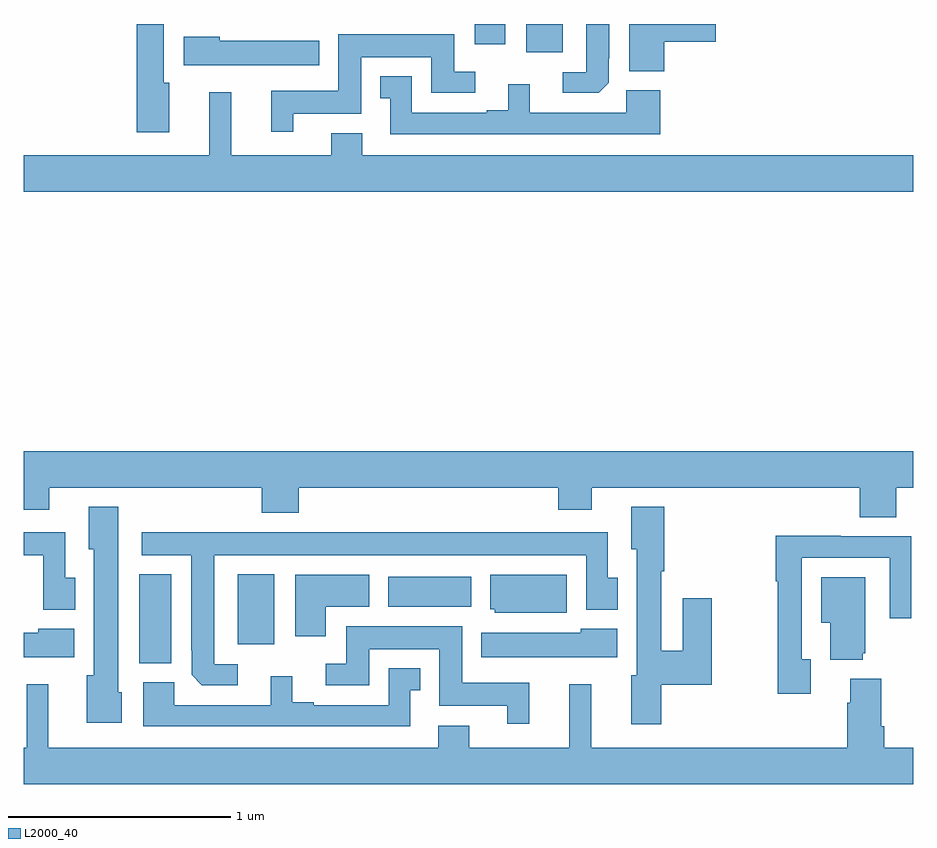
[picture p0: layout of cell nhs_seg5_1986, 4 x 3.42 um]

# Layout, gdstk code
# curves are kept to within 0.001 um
import gdstk
lib = gdstk.Library(unit=1e-6, precision=1e-09)
def R(c, l, rs):  # rectangles x0, y0, x1, y1
    for r in rs: c.add(gdstk.rectangle(r[:2], r[2:], *l))
def P(c, l, *ps):  # polygons
    for p in ps: c.add(gdstk.Polygon(p, *l))
L2000_40 = (2000, 40)

nhs_seg5_1986 = lib.new_cell('nhs_seg5_1986')
R(nhs_seg5_1986, L2000_40, [(227.519,903.923,227.662,904.324), (227.963,904.008,228.127,904.324), (228.638,904.178,229.012,904.312), (229.259,906.672,229.423,906.799), (229.028,906.708,229.165,906.799)])
P(nhs_seg5_1986, L2000_40, [(229.632,906.535),(229.632,906.646),(229.633,906.646),(229.633,906.799),(229.529,906.799),(229.529,906.582),(229.425,906.582),(229.425,906.489),(229.586,906.489)],
  [(227.653,906.534),(227.629,906.534),(227.629,906.799),(227.507,906.799),(227.507,906.312),(227.653,906.312)],
  [(229.88,906.719),(230.113,906.719),(230.113,906.799),(229.724,906.799),(229.724,906.587),(229.88,906.587)],
  [(228.211,906.395),(228.517,906.395),(228.517,906.65),(228.833,906.65),(228.833,906.489),(229.03,906.489),(229.03,906.585),(228.937,906.585),(228.937,906.754),(228.413,906.754),(228.413,906.499),(228.113,906.499),(228.113,906.315),(228.211,906.315)],
  [(228.328,906.724),(227.88,906.724),(227.88,906.742),(227.718,906.742),(227.718,906.614),(228.328,906.614)],
  [(229.862,906.502),(229.71,906.502),(229.71,906.399),(229.276,906.399),(229.276,906.529),(229.178,906.529),(229.178,906.412),(229.082,906.412),(229.082,906.399),(228.744,906.399),(228.744,906.565),(228.602,906.565),(228.602,906.465),(228.648,906.465),(228.648,906.303),(229.862,906.303)],
  [(231,906.208),(228.523,906.208),(228.523,906.307),(228.383,906.307),(228.383,906.208),(227.933,906.208),(227.933,906.493),(227.834,906.493),(227.834,906.208),(227,906.208),(227,906.044),(231,906.044)],
  [(230.924,904.712),(231,904.712),(231,904.876),(227,904.876),(227,904.613),(227.113,904.613),(227.113,904.712),(228.071,904.712),(228.071,904.601),(228.236,904.601),(228.236,904.712),(229.403,904.712),(229.403,904.613),(229.555,904.613),(229.555,904.712),(230.759,904.712),(230.759,904.579),(230.924,904.579)],
  [(227.44,903.792),(227.425,903.792),(227.425,904.627),(227.291,904.627),(227.291,904.437),(227.315,904.437),(227.315,903.87),(227.282,903.87),(227.282,903.656),(227.44,903.656)],
  [(229.867,903.827),(230.094,903.827),(230.094,904.216),(229.964,904.216),(229.964,903.98),(229.867,903.98),(229.867,904.337),(229.88,904.337),(229.88,904.627),(229.733,904.627),(229.733,904.437),(229.757,904.437),(229.757,903.87),(229.733,903.87),(229.733,903.648),(229.867,903.648)],
  [(227.23,904.308),(227.185,904.308),(227.185,904.513),(227,904.513),(227,904.409),(227.088,904.409),(227.088,904.164),(227.23,904.164)],
  [(227.962,903.918),(227.857,903.918),(227.857,904.409),(229.53,904.409),(229.53,904.164),(229.672,904.164),(229.672,904.308),(229.627,904.308),(229.627,904.513),(227.529,904.513),(227.529,904.409),(227.753,904.409),(227.754,903.871),(227.8,903.825),(227.962,903.825)],
  [(230.539,903.942),(230.499,903.942),(230.499,904.398),(230.895,904.398),(230.895,904.125),(230.991,904.125),(230.991,904.494),(230.675,904.494),(230.675,904.496),(230.383,904.496),(230.383,904.291),(230.391,904.291),(230.391,903.786),(230.539,903.786)],
  [(228.358,904.178),(228.553,904.178),(228.553,904.321),(228.221,904.321),(228.221,904.044),(228.358,904.044)],
  [(229.441,904.321),(229.097,904.321),(229.097,904.167),(229.119,904.167),(229.119,904.151),(229.441,904.151)],
  [(230.774,903.969),(230.785,903.969),(230.785,904.309),(230.588,904.309),(230.588,904.106),(230.627,904.106),(230.627,903.938),(230.774,903.938)],
  [(229.274,903.835),(228.973,903.835),(228.973,904.09),(228.449,904.09),(228.449,903.921),(228.357,903.921),(228.357,903.825),(228.553,903.825),(228.553,903.986),(228.869,903.986),(228.869,903.731),(229.175,903.731),(229.175,903.651),(229.274,903.651)],
  [(229.669,904.078),(229.506,904.078),(229.506,904.06),(229.058,904.06),(229.058,903.95),(229.669,903.95)],
  [(227.227,904.078),(227.064,904.078),(227.064,904.06),(227,904.06),(227,903.95),(227.227,903.95)],
  [(228.738,903.801),(228.784,903.801),(228.784,903.901),(228.642,903.901),(228.642,903.735),(228.304,903.735),(228.304,903.748),(228.208,903.748),(228.208,903.865),(228.11,903.865),(228.11,903.735),(227.676,903.735),(227.676,903.838),(227.537,903.838),(227.537,903.639),(228.738,903.639)],
  [(231,903.544),(230.87,903.544),(230.87,903.64),(230.857,903.64),(230.857,903.853),(230.717,903.853),(230.717,903.746),(230.705,903.746),(230.705,903.544),(229.553,903.544),(229.553,903.829),(229.454,903.829),(229.454,903.544),(229.003,903.544),(229.003,903.643),(228.863,903.643),(228.863,903.544),(227.11,903.544),(227.11,903.829),(227.012,903.829),(227.012,903.544),(227,903.544),(227,903.38),(231,903.38)])

lib.write_gds('nhs_seg5_1986.gds')
